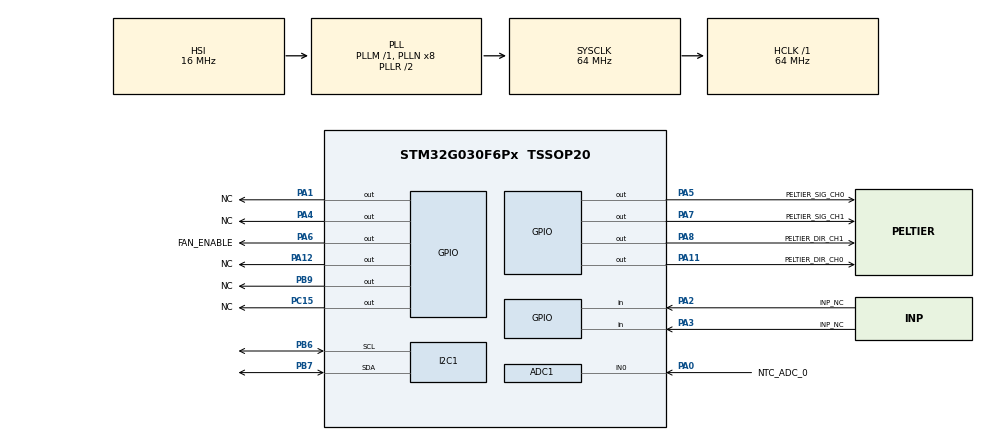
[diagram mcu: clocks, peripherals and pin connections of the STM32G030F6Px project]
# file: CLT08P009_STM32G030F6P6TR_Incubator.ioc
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ADC1.Channel-0\#ChannelRegularConversion=ADC_CHANNEL_0
ADC1.ContinuousConvMode=DISABLE
ADC1.NbrOfConversion=1
ADC1.NbrOfConversionFlag=1
ADC1.OversamplingMode=DISABLE
ADC1.Rank-0\#ChannelRegularConversion=1
ADC1.Resolution=ADC_RESOLUTION_12B
ADC1.SamplingTime-0\#ChannelRegularConversion=ADC_SAMPLINGTIME_COMMON_1
ADC1.SamplingTimeCommon1=ADC_SAMPLETIME_79CYCLES_5
ADC1.SamplingTimeCommon2=ADC_SAMPLETIME_79CYCLES_5
ADC1.SelectedChannel=ADC_CHANNEL_0
ADC1.master=1
I2C1.Timing=0x10B17DB5
Mcu.Family=STM32G0
Mcu.Name=STM32G030F6Px
Mcu.Package=TSSOP20
NVIC.I2C1_IRQn=true\:0\:0\:false\:false\:true\:true\:true\:true
PA0.GPIO_Label=NTC_ADC_0
PA0.Mode=IN0
PA0.Signal=ADC1_IN0
PA1.GPIO_Label=NC
PA1.Signal=GPIO_Output
PA11\ [PA9].GPIO_Label=PELTIER_DIR_CH0
PA11\ [PA9].Signal=GPIO_Output
PA12\ [PA10].GPIO_Label=NC
PA12\ [PA10].Signal=GPIO_Output
PA13.Mode=Serial_Wire
PA13.Signal=SYS_SWDIO
PA14-BOOT0.Mode=Serial_Wire
PA14-BOOT0.Signal=SYS_SWCLK
PA14-BOOT0__PA15.StandardMode=true
PA2.GPIO_Label=INP_NC
PA2.Signal=GPIO_Input
PA3.GPIO_Label=INP_NC
PA3.Signal=GPIO_Input
PA4.GPIO_Label=NC
PA4.Signal=GPIO_Output
PA5.GPIO_Label=PELTIER_SIG_CH0
PA5.Signal=GPIO_Output
PA6.GPIO_Label=FAN_ENABLE
PA6.Signal=GPIO_Output
PA7.GPIO_Label=PELTIER_SIG_CH1
PA7.Signal=GPIO_Output
PA8.GPIO_Label=PELTIER_DIR_CH1
PA8.Signal=GPIO_Output
PB0__PB1__PB2__PA8.StandardMode=true
PB3__PB4__PB5__PB6.StandardMode=true
PB6.Mode=I2C
PB6.Signal=I2C1_SCL
PB7.Mode=I2C
PB7.Signal=I2C1_SDA
PB7__PB8.StandardMode=true
PB9.GPIO_Label=NC
PB9.Signal=GPIO_Output
PC14-OSC32_IN\ (PC14)__PB9.StandardMode=true
PC15-OSC32_OUT\ (PC15).GPIO_Label=NC
PC15-OSC32_OUT\ (PC15).Signal=GPIO_Output
ProjectManager.HeapSize=0x200
ProjectManager.StackSize=0x400
ProjectManager.TargetToolchain=STM32CubeIDE
RCC.ADCFreq_Value=64000000
RCC.AHBFreq_Value=64000000
RCC.CortexFreq_Value=64000000
RCC.EXTERNAL_CLOCK_VALUE=12288000
RCC.HCLKFreq_Value=64000000
RCC.HSE_VALUE=8000000
RCC.HSI_VALUE=16000000
RCC.LSE_VALUE=32768
RCC.SYSCLKFreq_VALUE=64000000
RCC.SYSCLKSource=RCC_SYSCLKSOURCE_PLLCLK
RCC.VCOOutputFreq_Value=128000000
TIM17.Prescaler=64-1
VP_TIM17_VS_ClockSourceINT.Mode=Enable_Timer
board=custom

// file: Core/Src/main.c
/* USER CODE BEGIN Header */
/**
  ******************************************************************************
  * @file           : main.c
  * @brief          : Main program body
  ******************************************************************************
  * @attention
  *
  * Copyright (c) 2026 STMicroelectronics.
  * All rights reserved.
  *
  * This software is licensed under terms that can be found in the LICENSE file
  * in the root directory of this software component.
  * If no LICENSE file comes with this software, it is provided AS-IS.
  *
  ******************************************************************************
  */
/* USER CODE END Header */
#include "main.h"

/* USER CODE BEGIN Includes */
#include "Drv_ET6226.h"
#include "Drv_Peltier.h"
#include "ApplicationLayer.h"
/* USER CODE END Includes */

ADC_HandleTypeDef hadc1;

I2C_HandleTypeDef hi2c1;

TIM_HandleTypeDef htim17;

void SystemClock_Config(void);
static void MX_GPIO_Init(void);
static void MX_ADC1_Init(void);
static void MX_I2C1_Init(void);
static void MX_TIM17_Init(void);
/* USER CODE BEGIN PFP */

/******************************.FUNCTION_HEADER.******************************
.Purpose : This function serve as one time call function of application layer
.Returns :
.Note : use this function for all major initilization
******************************************************************************/
I2C_HandleTypeDef* GetInstance_I2C1(void)
{
	return (&(hi2c1));
}
#if (PELTIER_PID_CONTROL)
/******************************.FUNCTION_HEADER.******************************
.Purpose : This function serve as one time call function of application layer
.Returns :
.Note : use this function for all major initilization
******************************************************************************/
TIM_HandleTypeDef* GetInstance_Timer16(void)
{
	return (&(htim16));
}
/******************************.FUNCTION_HEADER.******************************
.Purpose : This function serve as one time call function of application layer
.Returns :
.Note : use this function for all major initilization
******************************************************************************/
TIM_HandleTypeDef* GetInstance_Timer1_P0(void)
{
	return (&(htim1));
}
/******************************.FUNCTION_HEADER.******************************
.Purpose : This function serve as one time call function of application layer
.Returns :
.Note : use this function for all major initilization
******************************************************************************/
TIM_HandleTypeDef* GetInstance_Timer3_P1(void)
{
	return (&(htim3));
}
#endif
/******************************.FUNCTION_HEADER.******************************
.Purpose : This function serve as one time call function of application layer
.Returns :
.Note : use this function for all major initilization
******************************************************************************/
TIM_HandleTypeDef* GetInstance_Timer17_OW(void)
{
	return (&(htim17));
}
/******************************.FUNCTION_HEADER.******************************
.Purpose : This function serve as one time call function of application layer
.Returns :
.Note : use this function for all major initilization
******************************************************************************/
ADC_HandleTypeDef* GetInstance_ADC1(void)
{
	return (&(hadc1));
}
/******************************.FUNCTION_HEADER.******************************
.Purpose : This function serve as one time call function of application layer
.Returns :
.Note : use this function for all major initilization
******************************************************************************/
void HAL_I2C_MasterTxCpltCallback(I2C_HandleTypeDef *hi2c)
{
	ET6226M_TransferCompleteCallback(hi2c);
}
/* USER CODE END PFP */

int main(void)
{

  /* MCU Configuration--------------------------------------------------------*/

  /* Reset of all peripherals, Initializes the Flash interface and the Systick. */
  HAL_Init();

  /* Configure the system clock */
  SystemClock_Config();

  /* Initialize all configured peripherals */
  MX_GPIO_Init();
  MX_ADC1_Init();
  MX_I2C1_Init();
  MX_TIM17_Init();

  /* Infinite loop */
  /* USER CODE BEGIN WHILE */
  ApplicationLayer_Init();/*Application layer code init*/

  while (1)
  {
	  ApplicationLayer_Exe();/*Application layer code exe (SUPER LOOP)*/
    /* USER CODE END WHILE */

  }
}

void SystemClock_Config(void)
{
  RCC_OscInitTypeDef RCC_OscInitStruct = {0};
  RCC_ClkInitTypeDef RCC_ClkInitStruct = {0};

  /** Configure the main internal regulator output voltage
  */
  HAL_PWREx_ControlVoltageScaling(PWR_REGULATOR_VOLTAGE_SCALE1);

  /** Initializes the RCC Oscillators according to the specified parameters
  * in the RCC_OscInitTypeDef structure.
  */
  RCC_OscInitStruct.OscillatorType = RCC_OSCILLATORTYPE_HSI;
  RCC_OscInitStruct.HSIState = RCC_HSI_ON;
  RCC_OscInitStruct.HSIDiv = RCC_HSI_DIV1;
  RCC_OscInitStruct.HSICalibrationValue = RCC_HSICALIBRATION_DEFAULT;
  RCC_OscInitStruct.PLL.PLLState = RCC_PLL_ON;
  RCC_OscInitStruct.PLL.PLLSource = RCC_PLLSOURCE_HSI;
  RCC_OscInitStruct.PLL.PLLM = RCC_PLLM_DIV1;
  RCC_OscInitStruct.PLL.PLLN = 8;
  RCC_OscInitStruct.PLL.PLLP = RCC_PLLP_DIV2;
  RCC_OscInitStruct.PLL.PLLR = RCC_PLLR_DIV2;
  if (HAL_RCC_OscConfig(&RCC_OscInitStruct) != HAL_OK)
  {
    Error_Handler();
  }

  /** Initializes the CPU, AHB and APB buses clocks
  */
  RCC_ClkInitStruct.ClockType = RCC_CLOCKTYPE_HCLK|RCC_CLOCKTYPE_SYSCLK
                              |RCC_CLOCKTYPE_PCLK1;
  RCC_ClkInitStruct.SYSCLKSource = RCC_SYSCLKSOURCE_PLLCLK;
  RCC_ClkInitStruct.AHBCLKDivider = RCC_SYSCLK_DIV1;
  RCC_ClkInitStruct.APB1CLKDivider = RCC_HCLK_DIV1;

  if (HAL_RCC_ClockConfig(&RCC_ClkInitStruct, FLASH_LATENCY_2) != HAL_OK)
  {
    Error_Handler();
  }
}

static void MX_ADC1_Init(void)
{

  ADC_ChannelConfTypeDef sConfig = {0};

  /** Configure the global features of the ADC (Clock, Resolution, Data Alignment and number of conversion)
  */
  hadc1.Instance = ADC1;
  hadc1.Init.ClockPrescaler = ADC_CLOCK_SYNC_PCLK_DIV2;
  hadc1.Init.Resolution = ADC_RESOLUTION_12B;
  hadc1.Init.DataAlign = ADC_DATAALIGN_RIGHT;
  hadc1.Init.ScanConvMode = ADC_SCAN_DISABLE;
  hadc1.Init.EOCSelection = ADC_EOC_SINGLE_CONV;
  hadc1.Init.LowPowerAutoWait = DISABLE;
  hadc1.Init.LowPowerAutoPowerOff = DISABLE;
  hadc1.Init.ContinuousConvMode = DISABLE;
  hadc1.Init.NbrOfConversion = 1;
  hadc1.Init.DiscontinuousConvMode = DISABLE;
  hadc1.Init.ExternalTrigConv = ADC_SOFTWARE_START;
  hadc1.Init.ExternalTrigConvEdge = ADC_EXTERNALTRIGCONVEDGE_NONE;
  hadc1.Init.DMAContinuousRequests = DISABLE;
  hadc1.Init.Overrun = ADC_OVR_DATA_PRESERVED;
  hadc1.Init.SamplingTimeCommon1 = ADC_SAMPLETIME_79CYCLES_5;
  hadc1.Init.SamplingTimeCommon2 = ADC_SAMPLETIME_79CYCLES_5;
  hadc1.Init.OversamplingMode = DISABLE;
  hadc1.Init.TriggerFrequencyMode = ADC_TRIGGER_FREQ_HIGH;
  if (HAL_ADC_Init(&hadc1) != HAL_OK)
  {
    Error_Handler();
  }

  /** Configure Regular Channel
  */
  sConfig.Channel = ADC_CHANNEL_0;
  sConfig.Rank = ADC_REGULAR_RANK_1;
  sConfig.SamplingTime = ADC_SAMPLINGTIME_COMMON_1;
  if (HAL_ADC_ConfigChannel(&hadc1, &sConfig) != HAL_OK)
  {
    Error_Handler();
  }

}

static void MX_I2C1_Init(void)
{

  hi2c1.Instance = I2C1;
  hi2c1.Init.Timing = 0x10B17DB5;
  hi2c1.Init.OwnAddress1 = 0;
  hi2c1.Init.AddressingMode = I2C_ADDRESSINGMODE_7BIT;
  hi2c1.Init.DualAddressMode = I2C_DUALADDRESS_DISABLE;
  hi2c1.Init.OwnAddress2 = 0;
  hi2c1.Init.OwnAddress2Masks = I2C_OA2_NOMASK;
  hi2c1.Init.GeneralCallMode = I2C_GENERALCALL_DISABLE;
  hi2c1.Init.NoStretchMode = I2C_NOSTRETCH_DISABLE;
  if (HAL_I2C_Init(&hi2c1) != HAL_OK)
  {
    Error_Handler();
  }

  /** Configure Analogue filter
  */
  if (HAL_I2CEx_ConfigAnalogFilter(&hi2c1, I2C_ANALOGFILTER_ENABLE) != HAL_OK)
  {
    Error_Handler();
  }

  /** Configure Digital filter
  */
  if (HAL_I2CEx_ConfigDigitalFilter(&hi2c1, 0) != HAL_OK)
  {
    Error_Handler();
  }

}

static void MX_TIM17_Init(void)
{

  htim17.Instance = TIM17;
  htim17.Init.Prescaler = 64-1;
  htim17.Init.CounterMode = TIM_COUNTERMODE_UP;
  htim17.Init.Period = 65535;
  htim17.Init.ClockDivision = TIM_CLOCKDIVISION_DIV1;
  htim17.Init.RepetitionCounter = 0;
  htim17.Init.AutoReloadPreload = TIM_AUTORELOAD_PRELOAD_DISABLE;
  if (HAL_TIM_Base_Init(&htim17) != HAL_OK)
  {
    Error_Handler();
  }

}

static void MX_GPIO_Init(void)
{
  GPIO_InitTypeDef GPIO_InitStruct = {0};

  /* GPIO Ports Clock Enable */
  __HAL_RCC_GPIOB_CLK_ENABLE();
  __HAL_RCC_GPIOC_CLK_ENABLE();
  __HAL_RCC_GPIOA_CLK_ENABLE();

  /*Configure GPIO pin Output Level */
  HAL_GPIO_WritePin(NC_GPIO_Port, NC_Pin, GPIO_PIN_RESET);

  /*Configure GPIO pin Output Level */
  HAL_GPIO_WritePin(NCC15_GPIO_Port, NCC15_Pin, GPIO_PIN_RESET);

  /*Configure GPIO pin Output Level */
  HAL_GPIO_WritePin(GPIOA, NCA1_Pin|NCA4_Pin|PELTIER_SIG_CH0_Pin|FAN_ENABLE_Pin
                          |PELTIER_SIG_CH1_Pin|PELTIER_DIR_CH1_Pin|PELTIER_DIR_CH0_Pin|NCA12_Pin, GPIO_PIN_RESET);

  /*Configure GPIO pin : NC_Pin */
  GPIO_InitStruct.Pin = NC_Pin;
  GPIO_InitStruct.Mode = GPIO_MODE_OUTPUT_PP;
  GPIO_InitStruct.Pull = GPIO_NOPULL;
  GPIO_InitStruct.Speed = GPIO_SPEED_FREQ_LOW;
  HAL_GPIO_Init(NC_GPIO_Port, &GPIO_InitStruct);

  /*Configure GPIO pin : NCC15_Pin */
  GPIO_InitStruct.Pin = NCC15_Pin;
  GPIO_InitStruct.Mode = GPIO_MODE_OUTPUT_PP;
  GPIO_InitStruct.Pull = GPIO_NOPULL;
  GPIO_InitStruct.Speed = GPIO_SPEED_FREQ_LOW;
  HAL_GPIO_Init(NCC15_GPIO_Port, &GPIO_InitStruct);

  /*Configure GPIO pins : NCA1_Pin NCA4_Pin PELTIER_SIG_CH0_Pin FAN_ENABLE_Pin
                           PELTIER_SIG_CH1_Pin PELTIER_DIR_CH1_Pin PELTIER_DIR_CH0_Pin NCA12_Pin */
  GPIO_InitStruct.Pin = NCA1_Pin|NCA4_Pin|PELTIER_SIG_CH0_Pin|FAN_ENABLE_Pin
                          |PELTIER_SIG_CH1_Pin|PELTIER_DIR_CH1_Pin|PELTIER_DIR_CH0_Pin|NCA12_Pin;
  GPIO_InitStruct.Mode = GPIO_MODE_OUTPUT_PP;
  GPIO_InitStruct.Pull = GPIO_NOPULL;
  GPIO_InitStruct.Speed = GPIO_SPEED_FREQ_LOW;
  HAL_GPIO_Init(GPIOA, &GPIO_InitStruct);

  /*Configure GPIO pins : INP_NC_Pin INP_NCA3_Pin */
  GPIO_InitStruct.Pin = INP_NC_Pin|INP_NCA3_Pin;
  GPIO_InitStruct.Mode = GPIO_MODE_INPUT;
  GPIO_InitStruct.Pull = GPIO_NOPULL;
  HAL_GPIO_Init(GPIOA, &GPIO_InitStruct);

}

void Error_Handler(void)
{
  __disable_irq();
  while (1)
  {
  }
}
